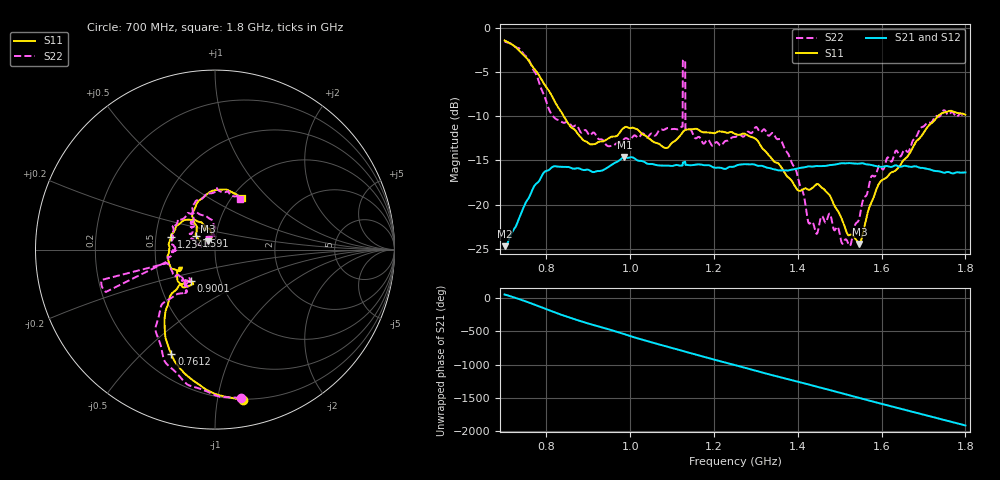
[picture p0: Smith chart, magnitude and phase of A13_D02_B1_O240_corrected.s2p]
! Created with skrf 1.9.0 (http://scikit-rf.org).
# Hz S RI R 50.0
!freq ReS11 ImS11 ReS21 ImS21 ReS12 ImS12 ReS22 ImS22
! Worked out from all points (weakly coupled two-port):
!   1601 points, 700 MHz to 1.8 GHz, reference 50 ohm
!   highest |S21| = -14.62 dB at 986 MHz (marker M1); lowest = -24.7 dB at 700 MHz (marker M2)
!   lowest |S11| = -24.5 dB at 1.547 GHz (marker M3), VSWR 1.13, Z = 46.2 + j4.32 ohm
!   |S11| at or under -10 dB: 841.4 MHz to 1.734 GHz (892.6 MHz wide, 69.3 % of centre)
!   |S22| runs from -24.7 to -1.5 dB; largest |S21 - S12| = 0.0035
!   S11 on the Smith chart (normalised r, x): 700 MHz: 0.20, -1.19; 761.2 MHz: 0.32, -0.62; 900.1 MHz: 0.72, -0.27; 1.234 GHz: 0.60, +0.09; 1.591 GHz: 0.80, +0.12; 1.8 GHz: 1.12, +0.71
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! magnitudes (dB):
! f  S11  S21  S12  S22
! 700 MHz  -1.4  -24.7  -24.5  -1.5
! 761.2 MHz  -4.0  -18.9  -18.8  -3.9
! 814.1 MHz  -7.8  -15.7  -15.8  -9.9
! 883.6 MHz  -12.5  -16.0  -15.9  -11.9
! 900.1 MHz  -13.0  -16.1  -16.1  -12.0
! 986 MHz  -11.3  -14.6  -14.7  -12.5
! 1.067 GHz  -13.1  -15.6  -15.5  -11.7
! 1.119 GHz  -12.2  -15.6  -15.5  -11.3
! 1.126 GHz  -11.8  -15.2  -15.2  -3.7
! 1.131 GHz  -11.5  -15.1  -15.2  -3.7
! 1.137 GHz  -11.5  -15.5  -15.5  -11.5
! 1.234 GHz  -11.9  -15.8  -15.8  -12.7
! 1.25 GHz  -12.0  -15.7  -15.6  -12.3
! 1.359 GHz  -15.6  -16.1  -16.1  -12.6
! 1.434 GHz  -18.2  -15.7  -15.7  -22.0
! 1.476 GHz  -19.0  -15.5  -15.6  -21.0
! 1.523 GHz  -23.5  -15.3  -15.3  -24.7
! 1.547 GHz  -24.5  -15.4  -15.3  -21.5
! 1.591 GHz  -17.9  -15.7  -15.7  -15.9
! 1.617 GHz  -16.7  -15.7  -15.6  -14.7
! 1.738 GHz  -9.8  -16.2  -16.3  -10.0
! 1.8 GHz  -9.8  -16.4  -16.4  -10.1
